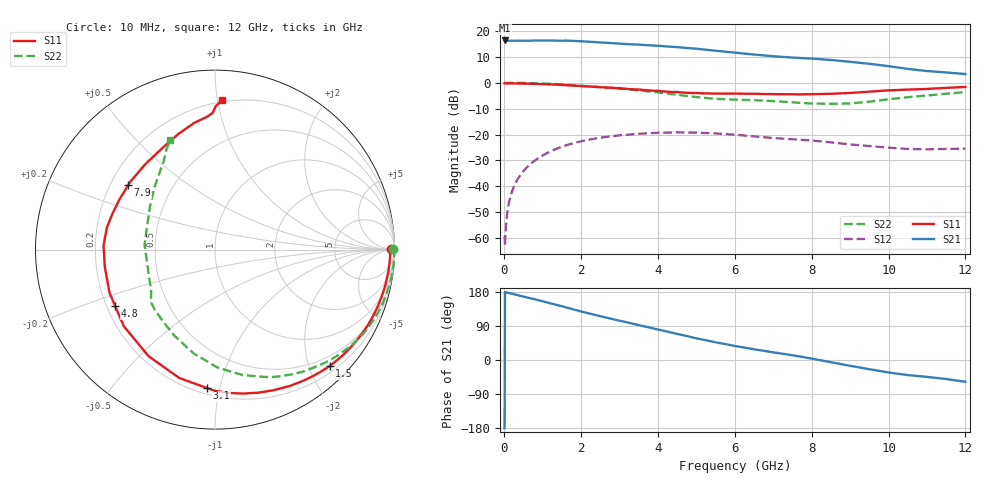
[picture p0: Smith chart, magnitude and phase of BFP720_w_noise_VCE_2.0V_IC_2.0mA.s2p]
! (c) 2012  Infineon Technologies AG, Munich
! Infineon Technologies  Discrete & RF Semiconductors
! BFP720
! VCE =  2.0 V,  IC =  2.0 mA
! Common Emitter S-Parameters:  Aug 2012
# GHz  S  MA  R  50
!  f  S11  S21  S12  S22
! GHz  MAG  ANG  MAG  ANG  MAG  ANG  MAG  ANG
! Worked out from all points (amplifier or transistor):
!   105 points, 10 MHz to 12 GHz, reference 50 ohm
!   highest |S21| = 16.4 dB at 10 MHz (marker M1)
!   |S21| within 3 dB of that: start of sweep to 4.83 GHz
!   unconditionally stable (mu >= 1): start of sweep to 10.21 MHz; 7.671 GHz to 11.86 GHz
!   at 300 MHz: K = 0.02, MSG = 27.4 dB, |S12| = -38.6 dB
!   at 3.6 GHz: K = 0.30, MSG = 17.1 dB, |S12| = -19.6 dB
!   at 12 GHz: K = 0.92, MSG = 14.4 dB, |S12| = -25.4 dB
!   lowest NFmin = 0.39 dB at 450 MHz
!   S11 on the Smith chart (normalised r, x): 10 MHz: 90, +7; 1.5 GHz: 0.31, -2.35; 3.1 GHz: 0.24, -0.92; 4.8 GHz: 0.23, -0.25; 7.9 GHz: 0.27, +0.31; 12 GHz: 0.19, +1.03
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0.01  0.9781 0.1  6.582 -179.8  0.0011 0.3  0.994 0.3
0.02  0.9767 -0.5  6.418 179.1  0.0007 101.9  0.9995 -0.4
0.06  0.9764 -1.7  6.496 178.2  0.0023 84.0  0.9986 -1.4
0.14  0.9754 -4.0  6.509 176.4  0.0055 86.9  0.999 -3.1
0.35  0.9704 -10.0  6.507 171.2  0.0138 83.3  0.9956 -7.7
0.9  0.9499 -26.4  6.571 157.6  0.0356 71.5  0.9762 -20.3
1.5  0.9104 -45.5  6.507 141.9  0.0583 57.8  0.9306 -34.3
1.8  0.8834 -55.2  6.457 133.5  0.0683 50.7  0.9003 -41.3
2.1  0.8562 -64.4  6.281 125.6  0.077 43.9  0.8674 -47.9
2.6  0.817 -79.0  5.972 113.2  0.0892 33.2  0.8151 -58.6
3.1  0.7729 -93.3  5.657 101.5  0.0981 23.3  0.7605 -68.8
3.5  0.7424 -105.5  5.474 92.0  0.1039 15.7  0.7167 -77.4
4.1  0.6872 -125.4  5.127 78.2  0.1089 4.6  0.6411 -91.2
4.8  0.6391 -150.4  4.678 62.0  0.1097 -7.8  0.5517 -109.2
5.5  0.6215 -171.1  4.18 46.6  0.1055 -19.2  0.4924 -126.5
6.1  0.6187 176.1  3.76 35.4  0.098 -26.9  0.4714 -136.1
7  0.6052 160.6  3.266 20.2  0.0859 -34.7  0.4433 -143.5
7.9  0.6021 143.5  2.964 5.5  0.0779 -40.3  0.4026 -154.9
8.5  0.6145 129.1  2.759 -5.9  0.0707 -44.2  0.3932 176.2
9.5  0.6753 107.7  2.332 -24.3  0.0601 -44.7  0.4328 147.0
10.5  0.7403 93.6  1.858 -39.8  0.0528 -41.6  0.5275 125.9
12  0.8323 87.3  1.477 -57.4  0.0536 -35.4  0.6612 112.1
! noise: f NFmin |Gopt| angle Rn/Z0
0.45  0.39  0.68  5  0.26
1.8  0.53  0.62  29  0.21
2.4  0.62  0.52  76  0.19
5.5  0.87  0.39  86  0.14
10  1.32  0.47  -108  0.22
